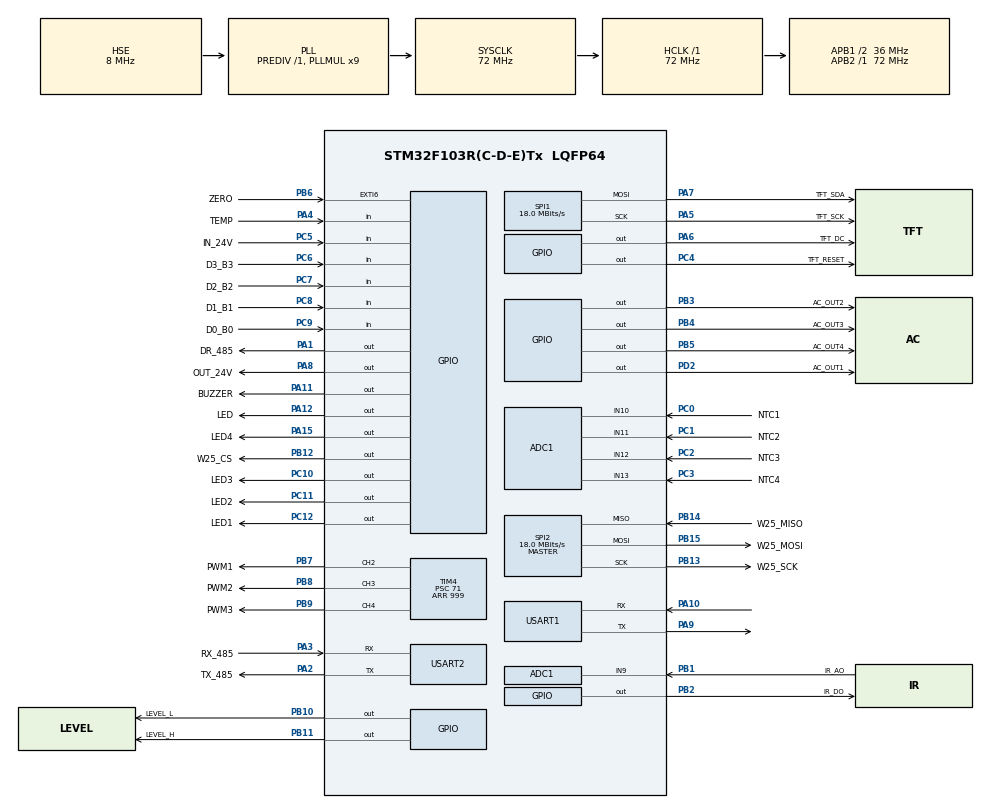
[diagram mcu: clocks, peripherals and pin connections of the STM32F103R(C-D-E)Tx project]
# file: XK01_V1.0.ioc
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ADC1.Channel-1\#ChannelRegularConversion=ADC_CHANNEL_9
ADC1.Channel-2\#ChannelRegularConversion=ADC_CHANNEL_10
ADC1.Channel-3\#ChannelRegularConversion=ADC_CHANNEL_11
ADC1.Channel-4\#ChannelRegularConversion=ADC_CHANNEL_12
ADC1.Channel-5\#ChannelRegularConversion=ADC_CHANNEL_13
ADC1.DiscontinuousConvMode=ENABLE
ADC1.NbrOfConversion=5
ADC1.NbrOfConversionFlag=1
ADC1.Rank-1\#ChannelRegularConversion=1
ADC1.Rank-2\#ChannelRegularConversion=2
ADC1.Rank-3\#ChannelRegularConversion=3
ADC1.Rank-4\#ChannelRegularConversion=4
ADC1.Rank-5\#ChannelRegularConversion=5
ADC1.SamplingTime-1\#ChannelRegularConversion=ADC_SAMPLETIME_1CYCLE_5
ADC1.SamplingTime-2\#ChannelRegularConversion=ADC_SAMPLETIME_1CYCLE_5
ADC1.SamplingTime-3\#ChannelRegularConversion=ADC_SAMPLETIME_1CYCLE_5
ADC1.SamplingTime-4\#ChannelRegularConversion=ADC_SAMPLETIME_1CYCLE_5
ADC1.SamplingTime-5\#ChannelRegularConversion=ADC_SAMPLETIME_1CYCLE_5
ADC1.master=1
Dma.Request0=SPI2_RX
Dma.Request1=SPI2_TX
Dma.Request2=USART2_RX
Dma.Request3=USART2_TX
Dma.Request4=SPI1_TX
Dma.SPI1_TX.4.Direction=DMA_MEMORY_TO_PERIPH
Dma.SPI1_TX.4.Instance=DMA1_Channel3
Dma.SPI1_TX.4.MemDataAlignment=DMA_MDATAALIGN_BYTE
Dma.SPI1_TX.4.MemInc=DMA_MINC_ENABLE
Dma.SPI1_TX.4.Mode=DMA_NORMAL
Dma.SPI1_TX.4.PeriphDataAlignment=DMA_PDATAALIGN_BYTE
Dma.SPI1_TX.4.PeriphInc=DMA_PINC_DISABLE
Dma.SPI1_TX.4.Priority=DMA_PRIORITY_LOW
Dma.SPI2_RX.0.Direction=DMA_PERIPH_TO_MEMORY
Dma.SPI2_RX.0.Instance=DMA1_Channel4
Dma.SPI2_RX.0.MemDataAlignment=DMA_MDATAALIGN_BYTE
Dma.SPI2_RX.0.MemInc=DMA_MINC_ENABLE
Dma.SPI2_RX.0.Mode=DMA_NORMAL
Dma.SPI2_RX.0.PeriphDataAlignment=DMA_PDATAALIGN_BYTE
Dma.SPI2_RX.0.PeriphInc=DMA_PINC_DISABLE
Dma.SPI2_RX.0.Priority=DMA_PRIORITY_LOW
Dma.SPI2_TX.1.Direction=DMA_MEMORY_TO_PERIPH
Dma.SPI2_TX.1.Instance=DMA1_Channel5
Dma.SPI2_TX.1.MemDataAlignment=DMA_MDATAALIGN_BYTE
Dma.SPI2_TX.1.MemInc=DMA_MINC_ENABLE
Dma.SPI2_TX.1.Mode=DMA_NORMAL
Dma.SPI2_TX.1.PeriphDataAlignment=DMA_PDATAALIGN_BYTE
Dma.SPI2_TX.1.PeriphInc=DMA_PINC_DISABLE
Dma.SPI2_TX.1.Priority=DMA_PRIORITY_LOW
Dma.USART2_RX.2.Direction=DMA_PERIPH_TO_MEMORY
Dma.USART2_RX.2.Instance=DMA1_Channel6
Dma.USART2_RX.2.MemDataAlignment=DMA_MDATAALIGN_BYTE
Dma.USART2_RX.2.MemInc=DMA_MINC_ENABLE
Dma.USART2_RX.2.Mode=DMA_NORMAL
Dma.USART2_RX.2.PeriphDataAlignment=DMA_PDATAALIGN_BYTE
Dma.USART2_RX.2.PeriphInc=DMA_PINC_DISABLE
Dma.USART2_RX.2.Priority=DMA_PRIORITY_LOW
Dma.USART2_TX.3.Direction=DMA_MEMORY_TO_PERIPH
Dma.USART2_TX.3.Instance=DMA1_Channel7
Dma.USART2_TX.3.MemDataAlignment=DMA_MDATAALIGN_BYTE
Dma.USART2_TX.3.MemInc=DMA_MINC_ENABLE
Dma.USART2_TX.3.Mode=DMA_NORMAL
Dma.USART2_TX.3.PeriphDataAlignment=DMA_PDATAALIGN_BYTE
Dma.USART2_TX.3.PeriphInc=DMA_PINC_DISABLE
Dma.USART2_TX.3.Priority=DMA_PRIORITY_LOW
Mcu.Family=STM32F1
Mcu.Name=STM32F103R(C-D-E)Tx
Mcu.Package=LQFP64
NVIC.ADC1_2_IRQn=true\:0\:0\:false\:false\:true\:true\:true\:true
NVIC.DMA1_Channel3_IRQn=true\:0\:0\:false\:false\:true\:false\:true\:true
NVIC.DMA1_Channel4_IRQn=true\:0\:0\:false\:false\:true\:false\:true\:true
NVIC.DMA1_Channel5_IRQn=true\:0\:0\:false\:false\:true\:false\:true\:true
NVIC.DMA1_Channel6_IRQn=true\:0\:0\:false\:false\:true\:false\:true\:true
NVIC.DMA1_Channel7_IRQn=true\:0\:0\:false\:false\:true\:false\:true\:true
NVIC.EXTI9_5_IRQn=true\:0\:0\:false\:false\:true\:true\:true\:true
NVIC.PriorityGroup=NVIC_PRIORITYGROUP_4
NVIC.SPI1_IRQn=true\:0\:0\:false\:false\:true\:true\:true\:true
NVIC.SPI2_IRQn=true\:0\:0\:false\:false\:true\:true\:true\:true
NVIC.TIM5_IRQn=true\:0\:0\:false\:false\:true\:true\:true\:true
NVIC.TIM6_IRQn=true\:0\:0\:false\:false\:true\:true\:true\:true
NVIC.TIM7_IRQn=true\:0\:0\:false\:false\:true\:true\:true\:true
NVIC.USART1_IRQn=true\:0\:0\:false\:false\:true\:true\:true\:true
NVIC.USART2_IRQn=true\:0\:0\:false\:false\:true\:true\:true\:true
PA1.GPIO_Label=DR_485
PA1.Signal=GPIO_Output
PA10.Mode=Asynchronous
PA10.Signal=USART1_RX
PA11.GPIO_Label=BUZZER
PA11.Signal=GPIO_Output
PA12.GPIO_Label=LED
PA12.Signal=GPIO_Output
PA13.Mode=Serial_Wire
PA13.Signal=SYS_JTMS-SWDIO
PA14.Mode=Serial_Wire
PA14.Signal=SYS_JTCK-SWCLK
PA15.GPIO_Label=LED4
PA15.Signal=GPIO_Output
PA2.GPIO_Label=TX_485
PA2.Mode=Asynchronous
PA2.Signal=USART2_TX
PA3.GPIO_Label=RX_485
PA3.Mode=Asynchronous
PA3.Signal=USART2_RX
PA4.GPIO_Label=TEMP
PA4.Signal=GPIO_Input
PA5.GPIO_Label=TFT_SCK
PA5.Mode=TX_Only_Simplex_Unidirect_Master
PA5.Signal=SPI1_SCK
PA6.GPIO_Label=TFT_DC
PA6.GPIO_Speed=GPIO_SPEED_FREQ_HIGH
PA6.Signal=GPIO_Output
PA7.GPIO_Label=TFT_SDA
PA7.Mode=TX_Only_Simplex_Unidirect_Master
PA7.Signal=SPI1_MOSI
PA8.GPIO_Label=OUT_24V
PA8.Signal=GPIO_Output
PA9.Mode=Asynchronous
PA9.Signal=USART1_TX
PB1.GPIO_Label=IR_AO
PB1.Signal=ADCx_IN9
PB10.GPIO_Label=LEVEL_L
PB10.Signal=GPIO_Output
PB11.GPIO_Label=LEVEL_H
PB11.Signal=GPIO_Output
PB12.GPIO_Label=W25_CS
PB12.GPIO_Speed=GPIO_SPEED_FREQ_HIGH
PB12.PinState=GPIO_PIN_SET
PB12.Signal=GPIO_Output
PB13.GPIO_Label=W25_SCK
PB13.Mode=Full_Duplex_Master
PB13.Signal=SPI2_SCK
PB14.GPIO_Label=W25_MISO
PB14.Mode=Full_Duplex_Master
PB14.Signal=SPI2_MISO
PB15.GPIO_Label=W25_MOSI
PB15.Mode=Full_Duplex_Master
PB15.Signal=SPI2_MOSI
PB2.GPIO_Label=IR_DO
PB2.Signal=GPIO_Output
PB3.GPIO_Label=AC_OUT2
PB3.Signal=GPIO_Output
PB4.GPIO_Label=AC_OUT3
PB4.Signal=GPIO_Output
PB5.GPIO_Label=AC_OUT4
PB5.Signal=GPIO_Output
PB6.GPIO_Label=ZERO
PB6.GPIO_ModeDefaultEXTI=GPIO_MODE_IT_FALLING
PB6.Signal=GPXTI6
PB7.GPIO_Label=PWM1
PB7.Signal=S_TIM4_CH2
PB8.GPIO_Label=PWM2
PB8.Signal=S_TIM4_CH3
PB9.GPIO_Label=PWM3
PB9.Signal=S_TIM4_CH4
PC0.GPIO_Label=NTC1
PC0.Signal=ADCx_IN10
PC1.GPIO_Label=NTC2
PC1.Signal=ADCx_IN11
PC10.GPIO_Label=LED3
PC10.Signal=GPIO_Output
PC11.GPIO_Label=LED2
PC11.Signal=GPIO_Output
PC12.GPIO_Label=LED1
PC12.Signal=GPIO_Output
PC14-OSC32_IN.Mode=LSE-External-Oscillator
PC14-OSC32_IN.Signal=RCC_OSC32_IN
PC15-OSC32_OUT.Mode=LSE-External-Oscillator
PC15-OSC32_OUT.Signal=RCC_OSC32_OUT
PC2.GPIO_Label=NTC3
PC2.Signal=ADCx_IN12
PC3.GPIO_Label=NTC4
PC3.Signal=ADCx_IN13
PC4.GPIO_Label=TFT_RESET
PC4.Signal=GPIO_Output
PC5.GPIO_Label=IN_24V
PC5.GPIO_PuPd=GPIO_NOPULL
PC5.Signal=GPIO_Input
PC6.GPIO_Label=D3_B3
PC6.Signal=GPIO_Input
PC7.GPIO_Label=D2_B2
PC7.Signal=GPIO_Input
PC8.GPIO_Label=D1_B1
PC8.Signal=GPIO_Input
PC9.GPIO_Label=D0_B0
PC9.Signal=GPIO_Input
PD0-OSC_IN.Mode=HSE-External-Oscillator
PD0-OSC_IN.Signal=RCC_OSC_IN
PD1-OSC_OUT.Mode=HSE-External-Oscillator
PD1-OSC_OUT.Signal=RCC_OSC_OUT
PD2.GPIO_Label=AC_OUT1
PD2.Signal=GPIO_Output
ProjectManager.HeapSize=0x200
ProjectManager.StackSize=0x400
ProjectManager.TargetToolchain=MDK-ARM V5.32
RCC.ADCPresc=RCC_ADCPCLK2_DIV6
RCC.AHBFreq_Value=72000000
RCC.APB1CLKDivider=RCC_HCLK_DIV2
RCC.APB1Freq_Value=36000000
RCC.APB1TimFreq_Value=72000000
RCC.APB2Freq_Value=72000000
RCC.APB2TimFreq_Value=72000000
RCC.HCLKFreq_Value=72000000
RCC.PLLMUL=RCC_PLL_MUL9
RCC.PLLSourceVirtual=RCC_PLLSOURCE_HSE
RCC.SYSCLKFreq_VALUE=72000000
RCC.SYSCLKSource=RCC_SYSCLKSOURCE_PLLCLK
RCC.USBFreq_Value=72000000
SH.ADCx_IN10.0=ADC1_IN10,IN10
SH.ADCx_IN11.0=ADC1_IN11,IN11
SH.ADCx_IN12.0=ADC1_IN12,IN12
SH.ADCx_IN13.0=ADC1_IN13,IN13
SH.ADCx_IN9.0=ADC1_IN9,IN9
SH.S_TIM4_CH2.0=TIM4_CH2,PWM Generation2 CH2
SH.S_TIM4_CH3.0=TIM4_CH3,PWM Generation3 CH3
SH.S_TIM4_CH4.0=TIM4_CH4,PWM Generation4 CH4
SPI1.BaudRatePrescaler=SPI_BAUDRATEPRESCALER_4
SPI1.CLKPolarity=SPI_POLARITY_HIGH
SPI1.CalculateBaudRate=18.0 MBits/s
SPI1.Direction=SPI_DIRECTION_2LINES
SPI1.Mode=SPI_MODE_MASTER
SPI1.VirtualType=VM_MASTER
SPI2.BaudRatePrescaler=SPI_BAUDRATEPRESCALER_2
SPI2.CLKPhase=SPI_PHASE_1EDGE
SPI2.CLKPolarity=SPI_POLARITY_LOW
SPI2.CalculateBaudRate=18.0 MBits/s
SPI2.Direction=SPI_DIRECTION_2LINES
SPI2.Mode=SPI_MODE_MASTER
SPI2.VirtualType=VM_MASTER
TIM4.AutoReloadPreload=TIM_AUTORELOAD_PRELOAD_DISABLE
TIM4.Channel-PWM\ Generation2\ CH2=TIM_CHANNEL_2
TIM4.Channel-PWM\ Generation3\ CH3=TIM_CHANNEL_3
TIM4.Channel-PWM\ Generation4\ CH4=TIM_CHANNEL_4
TIM4.OC2Preload_PWM=DISABLE
TIM4.OC3Preload_PWM=DISABLE
TIM4.OC4Preload_PWM=DISABLE
TIM4.OCPolarity_3=TIM_OCPOLARITY_HIGH
TIM4.OCPolarity_4=TIM_OCPOLARITY_HIGH
TIM4.Period=999
TIM4.Prescaler=71
TIM5.Period=10000-1
TIM5.Prescaler=72-1
TIM6.Period=1000-1
TIM6.Prescaler=72-1
TIM7.Period=10-1
TIM7.Prescaler=72-1
USART1.VirtualMode=VM_ASYNC
USART2.VirtualMode=VM_ASYNC
VP_TIM4_VS_ClockSourceINT.Mode=Internal
VP_TIM5_VS_ClockSourceINT.Mode=Internal
VP_TIM6_VS_ClockSourceINT.Mode=Enable_Timer
VP_TIM7_VS_ClockSourceINT.Mode=Enable_Timer
board=custom

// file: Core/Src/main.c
/* USER CODE BEGIN Header */
/**
  ******************************************************************************
  * @file           : main.c
  * @brief          : Main program body
  ******************************************************************************
  * @attention
  *
  * Copyright (c) 2024 STMicroelectronics.
  * All rights reserved.
  *
  * This software is licensed under terms that can be found in the LICENSE file
  * in the root directory of this software component.
  * If no LICENSE file comes with this software, it is provided AS-IS.
  *
  ******************************************************************************
  */
/* USER CODE END Header */
#include "main.h"
#include "adc.h"
#include "dma.h"
#include "spi.h"
#include "tim.h"
#include "usart.h"
#include "gpio.h"

/* USER CODE BEGIN Includes */
#include "temp.h"
#include "PWM_CRL.h"
#include "ST7789V2.h"
#include "SPI_Flash_w25q64.h"
#include "modbus_rtu.h"
#include "POWER_CRL.h"
#include "KEY_CRL.h"
#include "GUI.h"
/* USER CODE END Includes */

void SystemClock_Config(void);

/* USER CODE BEGIN 0 */

/******************************************************************************
function:transmit_complete_callback
******************************************************************************/

/* USER CODE END 0 */

int main(void)
{

  /* MCU Configuration--------------------------------------------------------*/

  /* Reset of all peripherals, Initializes the Flash interface and the Systick. */
	HAL_Init();

  /* Configure the system clock */
	SystemClock_Config();

  /* Initialize all configured peripherals */
	MX_GPIO_Init();
	MX_DMA_Init();
	MX_USART1_UART_Init();
	MX_ADC1_Init();

	MX_USART2_UART_Init();
	MX_TIM4_Init();
	MX_SPI1_Init();
	MX_SPI2_Init();
	MX_TIM6_Init();
	MX_TIM7_Init();
	MX_TIM5_Init();
  /* USER CODE BEGIN 2 */
	HAL_ADCEx_Calibration_Start(&hadc1);      //ADC校准
	HAL_TIM_Base_Start_IT(&htim5);			      //TIM5使能
	HAL_TIM_Base_Start_IT(&htim6);			      //TIM6使能
	HAL_TIM_Base_Start_IT(&htim7);			      //TIM7使能

	RS485_RX;
	rs485.reflag = 0;
	rs485.recount = 0;
	HAL_UART_Receive_IT(&huart2,&rs485.rcvbuf[rs485.recount],1);
	LCD_Init();

	W25Q64_Test();
	pwm_crl(50,75,75,200);

	power_crl(70);
	LCD_Clear(WHITE);
	//printf("========= code start ========= \r\n");

	get_slave_init_statu_multifunpower();
	//slave_statu_query_modify(0X04,0X02,3,0xFF);
	key_init();
	gui_init();
	screen_test();
	modbus.modbus_04_scan_flag = 0;
	modbus.modbus_04_scan_allow = 1;
  /* USER CODE END 2 */

  /* Infinite loop */
	while (1)
	{

    /* USER CODE BEGIN 3 */
    Modbus_Event();
		//ST7789_test();
    if((modbus.modbus_04_scan_flag == 1) && (modbus.modbus_04_scan_allow ==1))
    {+23

      update_fun();
      modbus.modbus_04_scan_flag = 0;
    }

	if(key.sync_allow_flag == 1)
	{
		key.sync_allow_flag = 0;
		sync_switch();
	}

	if( key.key_init_flag == 1)
	{
		refresh_icon();
		key.key_init_flag = 0;
	}
	icon_beat(gui_beat.beat_select,gui_beat.beat_switch);

    // HAL_UART_Transmit(&huart2,send_buf,5,1000);
    // HAL_Delay(100); +
    //value = HAL_GPIO_ReadPin(GPIOC,GPIO_PIN_6);
	// value = (B0_VAL) | (B1_VAL<<1) | (B2_VAL<<2) | (B3_VAL<<3);
	// printf("The value of B0_VAL is : %d \r\n",B0_VAL);
	// printf("The value of B1_VAL is : %d \r\n",B1_VAL);
	// printf("The value of B2_VAL is : %d \r\n",B2_VAL);
	// printf("The value of B3_VAL is : %d \r\n",B3_VAL);

	//printf("The value of value is : %d \r\n",key_value_flag);
	key_scan();

	//delay_ms(100);
    // LCD_Clear(RED);
    // HAL_Delay(50);
    // LCD_Clear(GREEN);
    // HAL_Delay(50);
    // LCD_Clear(YELLOW);
    // HAL_Delay(50);

    //HAL_Delay(100);
		// LCD_Clear(WHITE);

	}
  /* USER CODE END 3 */
}

void SystemClock_Config(void)
{
  RCC_OscInitTypeDef RCC_OscInitStruct = {0};
  RCC_ClkInitTypeDef RCC_ClkInitStruct = {0};
  RCC_PeriphCLKInitTypeDef PeriphClkInit = {0};

  /** Initializes the RCC Oscillators according to the specified parameters
  * in the RCC_OscInitTypeDef structure.
  */
  RCC_OscInitStruct.OscillatorType = RCC_OSCILLATORTYPE_HSE;
  RCC_OscInitStruct.HSEState = RCC_HSE_ON;
  RCC_OscInitStruct.HSEPredivValue = RCC_HSE_PREDIV_DIV1;
  RCC_OscInitStruct.HSIState = RCC_HSI_ON;
  RCC_OscInitStruct.PLL.PLLState = RCC_PLL_ON;
  RCC_OscInitStruct.PLL.PLLSource = RCC_PLLSOURCE_HSE;
  RCC_OscInitStruct.PLL.PLLMUL = RCC_PLL_MUL9;
  if (HAL_RCC_OscConfig(&RCC_OscInitStruct) != HAL_OK)
  {
    Error_Handler();
  }

  /** Initializes the CPU, AHB and APB buses clocks
  */
  RCC_ClkInitStruct.ClockType = RCC_CLOCKTYPE_HCLK|RCC_CLOCKTYPE_SYSCLK
                              |RCC_CLOCKTYPE_PCLK1|RCC_CLOCKTYPE_PCLK2;
  RCC_ClkInitStruct.SYSCLKSource = RCC_SYSCLKSOURCE_PLLCLK;
  RCC_ClkInitStruct.AHBCLKDivider = RCC_SYSCLK_DIV1;
  RCC_ClkInitStruct.APB1CLKDivider = RCC_HCLK_DIV2;
  RCC_ClkInitStruct.APB2CLKDivider = RCC_HCLK_DIV1;

  if (HAL_RCC_ClockConfig(&RCC_ClkInitStruct, FLASH_LATENCY_2) != HAL_OK)
  {
    Error_Handler();
  }
  PeriphClkInit.PeriphClockSelection = RCC_PERIPHCLK_ADC;
  PeriphClkInit.AdcClockSelection = RCC_ADCPCLK2_DIV6;
  if (HAL_RCCEx_PeriphCLKConfig(&PeriphClkInit) != HAL_OK)
  {
    Error_Handler();
  }
}

/* USER CODE BEGIN 4 */
/*
  * @brief 重定向c库函数printf到USARTx
  * @retval None
*/
int fputc(int ch, FILE *f)
{
    HAL_UART_Transmit(&huart2, (uint8_t *)&ch, 1, 0xffff);
    return ch;
}

/**
  * @brief 重定向c库函数getchar,scanf到USARTx
  * @retval None
  */
int fgetc(FILE *f)
{
    uint8_t ch = 0;
    HAL_UART_Receive(&huart2, &ch, 1, 0xffff);
    return ch;
}
/* USER CODE END 4 */

void Error_Handler(void)
{
  __disable_irq();
  while (1)
  {
  }
}
